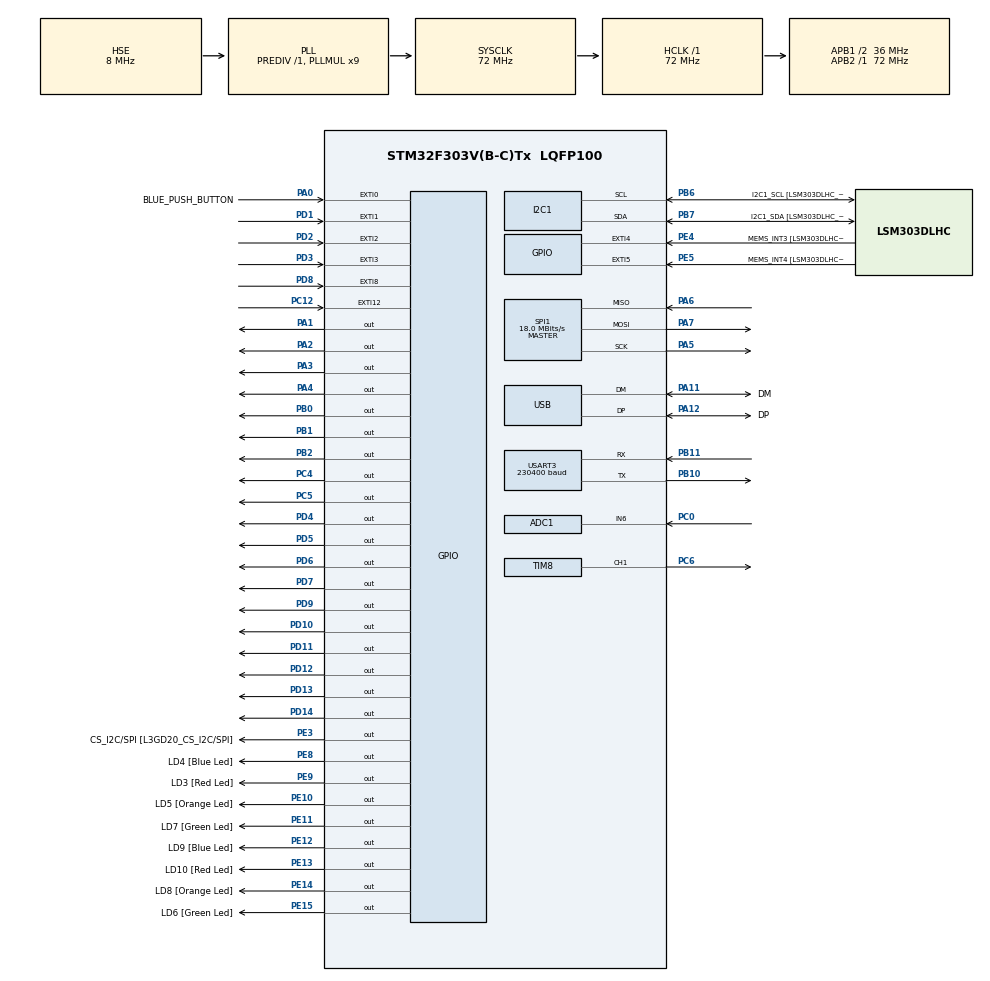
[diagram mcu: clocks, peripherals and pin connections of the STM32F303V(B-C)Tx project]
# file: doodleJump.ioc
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ADC1.Channel-1\#ChannelRegularConversion=ADC_CHANNEL_6
ADC1.ClockPrescaler=ADC_CLOCK_SYNC_PCLK_DIV4
ADC1.NbrOfConversionFlag=1
ADC1.Offset-1\#ChannelRegularConversion=0
ADC1.OffsetNumber-1\#ChannelRegularConversion=ADC_OFFSET_NONE
ADC1.Rank-1\#ChannelRegularConversion=1
ADC1.SamplingTime-1\#ChannelRegularConversion=ADC_SAMPLETIME_601CYCLES_5
ADC1.SamplingTimeOPAMP-1\#ChannelRegularConversion=ADC_SAMPLETIME_61CYCLES_5
ADC1.master=1
Dma.Request0=USART3_TX
Dma.Request1=USART3_RX
Dma.USART3_RX.1.Direction=DMA_PERIPH_TO_MEMORY
Dma.USART3_RX.1.Instance=DMA1_Channel3
Dma.USART3_RX.1.MemDataAlignment=DMA_MDATAALIGN_BYTE
Dma.USART3_RX.1.MemInc=DMA_MINC_ENABLE
Dma.USART3_RX.1.Mode=DMA_NORMAL
Dma.USART3_RX.1.PeriphDataAlignment=DMA_PDATAALIGN_BYTE
Dma.USART3_RX.1.PeriphInc=DMA_PINC_DISABLE
Dma.USART3_RX.1.Priority=DMA_PRIORITY_LOW
Dma.USART3_TX.0.Direction=DMA_MEMORY_TO_PERIPH
Dma.USART3_TX.0.Instance=DMA1_Channel2
Dma.USART3_TX.0.MemDataAlignment=DMA_MDATAALIGN_BYTE
Dma.USART3_TX.0.MemInc=DMA_MINC_ENABLE
Dma.USART3_TX.0.Mode=DMA_NORMAL
Dma.USART3_TX.0.PeriphDataAlignment=DMA_PDATAALIGN_BYTE
Dma.USART3_TX.0.PeriphInc=DMA_PINC_DISABLE
Dma.USART3_TX.0.Priority=DMA_PRIORITY_LOW
FREERTOS.BinarySemaphores01=keypadSem,Dynamic,NULL;volumeSem,Dynamic,NULL;uartDmaSem,Dynamic,NULL;uartDmaRxSem,Dynamic,NULL
FREERTOS.Mutexes01=lcdMutex,Dynamic,NULL;gameLoadMutex,Dynamic,NULL
FREERTOS.Queues01=melodyNameQu,10,4,1,Dynamic,NULL,NULL
FREERTOS.Tasks01=defaultTask,25,300,StartDefaultTask,Default,NULL,Dynamic,NULL,NULL;uartTxTsk,27,300,StartUartTxTsk,Default,NULL,Dynamic,NULL,NULL;getVolumeTsk,25,200,StartGetVolumeTsk,Default,NULL,Dynamic,NULL,NULL;updateLcdTsk,26,800,StartUpdateLcdTsk,Default,NULL,Dynamic,NULL,NULL;update7SegTsk,25,128,StartUpdate7SegTsk,Default,NULL,Dynamic,NULL,NULL;playMelodyTsk,25,128,StartPlayMelodyTsk,Default,NULL,Dynamic,NULL,NULL;lcdStateTxTsk,26,500,StartLcdStateTxTsk,Default,NULL,Dynamic,NULL,NULL;uartRxTsk,27,400,StartUartRxTsk,Default,NULL,Dynamic,NULL,NULL
FREERTOS.configTOTAL_HEAP_SIZE=14336
Mcu.Family=STM32F3
Mcu.Name=STM32F303V(B-C)Tx
Mcu.Package=LQFP100
NVIC.ADC1_2_IRQn=true\:5\:0\:false\:false\:true\:true\:true\:true\:true
NVIC.DMA1_Channel2_IRQn=true\:5\:0\:false\:false\:true\:true\:false\:true\:true
NVIC.DMA1_Channel3_IRQn=true\:5\:0\:false\:false\:true\:true\:false\:true\:true
NVIC.EXTI0_IRQn=true\:5\:0\:true\:false\:true\:false\:true\:true\:true
NVIC.EXTI15_10_IRQn=true\:5\:0\:false\:false\:true\:true\:true\:true\:true
NVIC.EXTI1_IRQn=true\:5\:0\:true\:false\:true\:false\:true\:true\:true
NVIC.EXTI2_TSC_IRQn=true\:5\:0\:true\:false\:true\:false\:true\:true\:true
NVIC.EXTI3_IRQn=true\:5\:0\:true\:false\:true\:false\:true\:true\:true
NVIC.PriorityGroup=NVIC_PRIORITYGROUP_4
NVIC.TIM6_DAC_IRQn=true\:15\:0\:false\:false\:true\:false\:false\:true\:true
NVIC.TimeBase=TIM6_DAC_IRQn
NVIC.TimeBaseIP=TIM6
NVIC.USART3_IRQn=true\:5\:0\:false\:false\:true\:true\:true\:true\:true
PA0.GPIO_Label=BLUE_PUSH_BUTTON
PA0.GPIO_PuPd=GPIO_PULLDOWN
PA0.Signal=GPXTI0
PA1.Signal=GPIO_Output
PA11.GPIO_Label=DM
PA11.Mode=Device
PA11.Signal=USB_DM
PA12.GPIO_Label=DP
PA12.Mode=Device
PA12.Signal=USB_DP
PA13.GPIO_Label=SWDIO
PA13.Mode=Serial_Wire
PA13.Signal=SYS_JTMS-SWDIO
PA14.GPIO_Label=SWCLK
PA14.Mode=Serial_Wire
PA14.Signal=SYS_JTCK-SWCLK
PA2.Signal=GPIO_Output
PA3.Signal=GPIO_Output
PA4.Signal=GPIO_Output
PA5.Mode=Full_Duplex_Master
PA5.Signal=SPI1_SCK
PA6.Mode=Full_Duplex_Master
PA6.Signal=SPI1_MISO
PA7.Mode=Full_Duplex_Master
PA7.Signal=SPI1_MOSI
PB0.Signal=GPIO_Output
PB1.Signal=GPIO_Output
PB10.Mode=Asynchronous
PB10.Signal=USART3_TX
PB11.Mode=Asynchronous
PB11.Signal=USART3_RX
PB2.Signal=GPIO_Output
PB3.GPIO_Label=SWO
PB3.Signal=SYS_JTDO-TRACESWO
PB6.GPIO_Label=I2C1_SCL [LSM303DLHC_SCL]
PB6.GPIO_Pu=GPIO_PULLUP
PB6.Mode=I2C
PB6.Signal=I2C1_SCL
PB7.GPIO_Label=I2C1_SDA [LSM303DLHC_SDA]
PB7.GPIO_Pu=GPIO_PULLUP
PB7.Mode=I2C
PB7.Signal=I2C1_SDA
PC0.Signal=ADCx_IN6
PC12.GPIO_PuPd=GPIO_PULLDOWN
PC12.Signal=GPXTI12
PC14-OSC32_IN.GPIO_Label=OSC32_IN
PC14-OSC32_IN.Signal=RCC_OSC32_IN
PC15-OSC32_OUT.GPIO_Label=OSC32_OUT
PC15-OSC32_OUT.Signal=RCC_OSC32_OUT
PC4.Signal=GPIO_Output
PC5.Signal=GPIO_Output
PC6.Signal=S_TIM8_CH1
PD1.GPIO_PuPd=GPIO_PULLDOWN
PD1.Signal=GPXTI1
PD10.Signal=GPIO_Output
PD11.Signal=GPIO_Output
PD12.Signal=GPIO_Output
PD13.Signal=GPIO_Output
PD14.Signal=GPIO_Output
PD2.GPIO_PuPd=GPIO_PULLDOWN
PD2.Signal=GPXTI2
PD3.GPIO_PuPd=GPIO_PULLDOWN
PD3.Signal=GPXTI3
PD4.Signal=GPIO_Output
PD5.Signal=GPIO_Output
PD6.Signal=GPIO_Output
PD7.Signal=GPIO_Output
PD8.Signal=GPXTI8
PD9.Signal=GPIO_Output
PE10.GPIO_Label=LD5 [Orange Led]
PE10.Signal=GPIO_Output
PE11.GPIO_Label=LD7 [Green Led]
PE11.Signal=GPIO_Output
PE12.GPIO_Label=LD9 [Blue Led]
PE12.Signal=GPIO_Output
PE13.GPIO_Label=LD10 [Red Led]
PE13.Signal=GPIO_Output
PE14.GPIO_Label=LD8 [Orange Led]
PE14.Signal=GPIO_Output
PE15.GPIO_Label=LD6 [Green Led]
PE15.Signal=GPIO_Output
PE3.GPIO_Label=CS_I2C/SPI [L3GD20_CS_I2C/SPI]
PE3.Signal=GPIO_Output
PE4.GPIO_Label=MEMS_INT3 [LSM303DLHC_INT1]
PE4.GPIO_ModeDefaultEXTI=GPIO_MODE_EVT_RISING
PE4.Signal=GPXTI4
PE5.GPIO_Label=MEMS_INT4 [LSM303DLHC_INT2]
PE5.GPIO_ModeDefaultEXTI=GPIO_MODE_EVT_RISING
PE5.Signal=GPXTI5
PE8.GPIO_Label=LD4 [Blue Led]
PE8.Signal=GPIO_Output
PE9.GPIO_Label=LD3 [Red Led]
PE9.Signal=GPIO_Output
PF0-OSC_IN.GPIO_Label=OSC_IN
PF0-OSC_IN.Mode=HSE-External-Clock-Source
PF0-OSC_IN.Signal=RCC_OSC_IN
PF1-OSC_OUT.GPIO_Label=OSC_OUT
PF1-OSC_OUT.Signal=RCC_OSC_OUT
ProjectManager.HeapSize=0x200
ProjectManager.StackSize=0x400
ProjectManager.TargetToolchain=STM32CubeIDE
RCC.AHBFreq_Value=72000000
RCC.APB1CLKDivider=RCC_HCLK_DIV2
RCC.APB1Freq_Value=36000000
RCC.APB1TimFreq_Value=72000000
RCC.APB2Freq_Value=72000000
RCC.APB2TimFreq_Value=72000000
RCC.CortexFreq_Value=72000000
RCC.HCLKFreq_Value=72000000
RCC.HSE_VALUE=8000000
RCC.HSI_VALUE=8000000
RCC.LSE_VALUE=32768
RCC.PLLMUL=RCC_PLL_MUL9
RCC.PRESCALERUSB=RCC_USBCLKSOURCE_PLL_DIV1_5
RCC.SYSCLKFreq_VALUE=72000000
RCC.SYSCLKSourceVirtual=RCC_SYSCLKSOURCE_PLLCLK
RCC.USBFreq_Value=48000000
RTC.AsynchPrediv=39
RTC.Format=RTC_FORMAT_BIN
RTC.SynchPrediv=999
RTC.WeekDay=RTC_WEEKDAY_SATURDAY
SH.ADCx_IN6.0=ADC1_IN6,IN6-Single-Ended
SH.S_TIM8_CH1.0=TIM8_CH1,PWM Generation1 CH1
SPI1.BaudRatePrescaler=SPI_BAUDRATEPRESCALER_4
SPI1.CalculateBaudRate=18.0 MBits/s
SPI1.Direction=SPI_DIRECTION_2LINES
SPI1.Mode=SPI_MODE_MASTER
SPI1.VirtualType=VM_MASTER
TIM8.Channel-PWM\ Generation1\ CH1=TIM_CHANNEL_1
USART3.BaudRate=230400
USART3.VirtualMode-Asynchronous=VM_ASYNC
VP_FREERTOS_VS_CMSIS_V2.Mode=CMSIS_V2
VP_RTC_VS_RTC_Activate.Mode=RTC_Enabled
VP_RTC_VS_RTC_Calendar.Mode=RTC_Calendar
VP_SYS_VS_tim6.Mode=TIM6
board=STM32F3DISCOVERY

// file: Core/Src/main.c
/* USER CODE BEGIN Header */
/**
  ******************************************************************************
  * @file           : main.c
  * @brief          : Main program body
  ******************************************************************************
  * @attention
  *
  * Copyright (c) 2022 STMicroelectronics.
  * All rights reserved.
  *
  * This software is licensed under terms that can be found in the LICENSE file
  * in the root directory of this software component.
  * If no LICENSE file comes with this software, it is provided AS-IS.
  *
  ******************************************************************************
  */
/* USER CODE END Header */
#include "main.h"
#include "cmsis_os.h"

/* USER CODE BEGIN Includes */
#include <stdlib.h>
#include "globals.h"
#include "init.h"
#include "keypad.h"
#include "7segment.h"
#include "lcd.h"
#include "adc.h"
#include "game.h"
#include "buzzer.h"
#include "uart.h"
#include "timeManagement.h"
#include "acceleroGyro.h"
/* USER CODE END Includes */

ADC_HandleTypeDef hadc1;

I2C_HandleTypeDef hi2c1;

RTC_HandleTypeDef hrtc;

SPI_HandleTypeDef hspi1;

TIM_HandleTypeDef htim8;

UART_HandleTypeDef huart3;
DMA_HandleTypeDef hdma_usart3_tx;
DMA_HandleTypeDef hdma_usart3_rx;

PCD_HandleTypeDef hpcd_USB_FS;

/* Definitions for defaultTask */
osThreadId_t defaultTaskHandle;
const osThreadAttr_t defaultTask_attributes = {
  .name = "defaultTask",
  .stack_size = 300 * 4,
  .priority = (osPriority_t) osPriorityNormal1,
};
/* Definitions for uartTxTsk */
osThreadId_t uartTxTskHandle;
const osThreadAttr_t uartTxTsk_attributes = {
  .name = "uartTxTsk",
  .stack_size = 300 * 4,
  .priority = (osPriority_t) osPriorityNormal3,
};
/* Definitions for getVolumeTsk */
osThreadId_t getVolumeTskHandle;
const osThreadAttr_t getVolumeTsk_attributes = {
  .name = "getVolumeTsk",
  .stack_size = 200 * 4,
  .priority = (osPriority_t) osPriorityNormal1,
};
/* Definitions for updateLcdTsk */
osThreadId_t updateLcdTskHandle;
const osThreadAttr_t updateLcdTsk_attributes = {
  .name = "updateLcdTsk",
  .stack_size = 800 * 4,
  .priority = (osPriority_t) osPriorityNormal2,
};
/* Definitions for update7SegTsk */
osThreadId_t update7SegTskHandle;
const osThreadAttr_t update7SegTsk_attributes = {
  .name = "update7SegTsk",
  .stack_size = 128 * 4,
  .priority = (osPriority_t) osPriorityNormal1,
};
/* Definitions for playMelodyTsk */
osThreadId_t playMelodyTskHandle;
const osThreadAttr_t playMelodyTsk_attributes = {
  .name = "playMelodyTsk",
  .stack_size = 128 * 4,
  .priority = (osPriority_t) osPriorityNormal1,
};
/* Definitions for lcdStateTxTsk */
osThreadId_t lcdStateTxTskHandle;
const osThreadAttr_t lcdStateTxTsk_attributes = {
  .name = "lcdStateTxTsk",
  .stack_size = 500 * 4,
  .priority = (osPriority_t) osPriorityNormal2,
};
/* Definitions for uartRxTsk */
osThreadId_t uartRxTskHandle;
const osThreadAttr_t uartRxTsk_attributes = {
  .name = "uartRxTsk",
  .stack_size = 400 * 4,
  .priority = (osPriority_t) osPriorityNormal3,
};
/* Definitions for melodyNameQu */
osMessageQueueId_t melodyNameQuHandle;
const osMessageQueueAttr_t melodyNameQu_attributes = {
  .name = "melodyNameQu"
};
/* Definitions for lcdMutex */
osMutexId_t lcdMutexHandle;
const osMutexAttr_t lcdMutex_attributes = {
  .name = "lcdMutex"
};
/* Definitions for gameLoadMutex */
osMutexId_t gameLoadMutexHandle;
const osMutexAttr_t gameLoadMutex_attributes = {
  .name = "gameLoadMutex"
};
/* Definitions for keypadSem */
osSemaphoreId_t keypadSemHandle;
const osSemaphoreAttr_t keypadSem_attributes = {
  .name = "keypadSem"
};
/* Definitions for volumeSem */
osSemaphoreId_t volumeSemHandle;
const osSemaphoreAttr_t volumeSem_attributes = {
  .name = "volumeSem"
};
/* Definitions for uartDmaSem */
osSemaphoreId_t uartDmaSemHandle;
const osSemaphoreAttr_t uartDmaSem_attributes = {
  .name = "uartDmaSem"
};
/* Definitions for uartDmaRxSem */
osSemaphoreId_t uartDmaRxSemHandle;
const osSemaphoreAttr_t uartDmaRxSem_attributes = {
  .name = "uartDmaRxSem"
};

void SystemClock_Config(void);
static void MX_GPIO_Init(void);
static void MX_DMA_Init(void);
static void MX_USB_PCD_Init(void);
static void MX_ADC1_Init(void);
static void MX_TIM8_Init(void);
static void MX_RTC_Init(void);
static void MX_I2C1_Init(void);
static void MX_USART3_UART_Init(void);
static void MX_SPI1_Init(void);
void StartDefaultTask(void *argument);
void StartUartTxTsk(void *argument);
void StartGetVolumeTsk(void *argument);
void StartUpdateLcdTsk(void *argument);
void StartUpdate7SegTsk(void *argument);
void StartPlayMelodyTsk(void *argument);
void StartLcdStateTxTsk(void *argument);
void StartUartRxTsk(void *argument);

int main(void)
{

  /* MCU Configuration--------------------------------------------------------*/

  /* Reset of all peripherals, Initializes the Flash interface and the Systick. */
  HAL_Init();

  /* Configure the system clock */
  SystemClock_Config();

  /* Initialize all configured peripherals */
  MX_GPIO_Init();
  MX_DMA_Init();
  MX_USB_PCD_Init();
  MX_ADC1_Init();
  MX_TIM8_Init();
  MX_RTC_Init();
  MX_I2C1_Init();
  MX_USART3_UART_Init();
  MX_SPI1_Init();
  /* USER CODE BEGIN 2 */
    programInit();

  /* USER CODE END 2 */

  /* Init scheduler */
  osKernelInitialize();
  /* Create the mutex(es) */
  /* creation of lcdMutex */
  lcdMutexHandle = osMutexNew(&lcdMutex_attributes);

  /* creation of gameLoadMutex */
  gameLoadMutexHandle = osMutexNew(&gameLoadMutex_attributes);

  /* Create the semaphores(s) */
  /* creation of keypadSem */
  keypadSemHandle = osSemaphoreNew(1, 0, &keypadSem_attributes);

  /* creation of volumeSem */
  volumeSemHandle = osSemaphoreNew(1, 0, &volumeSem_attributes);

  /* creation of uartDmaSem */
  uartDmaSemHandle = osSemaphoreNew(1, 1, &uartDmaSem_attributes);

  /* creation of uartDmaRxSem */
  uartDmaRxSemHandle = osSemaphoreNew(1, 0, &uartDmaRxSem_attributes);

  /* Create the queue(s) */
  /* creation of melodyNameQu */
  melodyNameQuHandle = osMessageQueueNew (10, 4, &melodyNameQu_attributes);

  /* Create the thread(s) */
  /* creation of defaultTask */
  defaultTaskHandle = osThreadNew(StartDefaultTask, NULL, &defaultTask_attributes);

  /* creation of uartTxTsk */
  uartTxTskHandle = osThreadNew(StartUartTxTsk, NULL, &uartTxTsk_attributes);

  /* creation of getVolumeTsk */
  getVolumeTskHandle = osThreadNew(StartGetVolumeTsk, NULL, &getVolumeTsk_attributes);

  /* creation of updateLcdTsk */
  updateLcdTskHandle = osThreadNew(StartUpdateLcdTsk, NULL, &updateLcdTsk_attributes);

  /* creation of update7SegTsk */
  update7SegTskHandle = osThreadNew(StartUpdate7SegTsk, NULL, &update7SegTsk_attributes);

  /* creation of playMelodyTsk */
  playMelodyTskHandle = osThreadNew(StartPlayMelodyTsk, NULL, &playMelodyTsk_attributes);

  /* creation of lcdStateTxTsk */
  lcdStateTxTskHandle = osThreadNew(StartLcdStateTxTsk, NULL, &lcdStateTxTsk_attributes);

  /* creation of uartRxTsk */
  uartRxTskHandle = osThreadNew(StartUartRxTsk, NULL, &uartRxTsk_attributes);

  /* Start scheduler */
  osKernelStart();

  /* We should never get here as control is now taken by the scheduler */
  /* Infinite loop */
    while (1) {

    }
}

void SystemClock_Config(void)
{
  RCC_OscInitTypeDef RCC_OscInitStruct = {0};
  RCC_ClkInitTypeDef RCC_ClkInitStruct = {0};
  RCC_PeriphCLKInitTypeDef PeriphClkInit = {0};

  /** Initializes the RCC Oscillators according to the specified parameters
  * in the RCC_OscInitTypeDef structure.
  */
  RCC_OscInitStruct.OscillatorType = RCC_OSCILLATORTYPE_HSI|RCC_OSCILLATORTYPE_LSI
                              |RCC_OSCILLATORTYPE_HSE;
  RCC_OscInitStruct.HSEState = RCC_HSE_BYPASS;
  RCC_OscInitStruct.HSEPredivValue = RCC_HSE_PREDIV_DIV1;
  RCC_OscInitStruct.HSIState = RCC_HSI_ON;
  RCC_OscInitStruct.HSICalibrationValue = RCC_HSICALIBRATION_DEFAULT;
  RCC_OscInitStruct.LSIState = RCC_LSI_ON;
  RCC_OscInitStruct.PLL.PLLState = RCC_PLL_ON;
  RCC_OscInitStruct.PLL.PLLSource = RCC_PLLSOURCE_HSE;
  RCC_OscInitStruct.PLL.PLLMUL = RCC_PLL_MUL9;
  if (HAL_RCC_OscConfig(&RCC_OscInitStruct) != HAL_OK)
  {
    Error_Handler();
  }

  /** Initializes the CPU, AHB and APB buses clocks
  */
  RCC_ClkInitStruct.ClockType = RCC_CLOCKTYPE_HCLK|RCC_CLOCKTYPE_SYSCLK
                              |RCC_CLOCKTYPE_PCLK1|RCC_CLOCKTYPE_PCLK2;
  RCC_ClkInitStruct.SYSCLKSource = RCC_SYSCLKSOURCE_PLLCLK;
  RCC_ClkInitStruct.AHBCLKDivider = RCC_SYSCLK_DIV1;
  RCC_ClkInitStruct.APB1CLKDivider = RCC_HCLK_DIV2;
  RCC_ClkInitStruct.APB2CLKDivider = RCC_HCLK_DIV1;

  if (HAL_RCC_ClockConfig(&RCC_ClkInitStruct, FLASH_LATENCY_2) != HAL_OK)
  {
    Error_Handler();
  }
  PeriphClkInit.PeriphClockSelection = RCC_PERIPHCLK_USB|RCC_PERIPHCLK_USART3
                              |RCC_PERIPHCLK_I2C1|RCC_PERIPHCLK_RTC
                              |RCC_PERIPHCLK_TIM8;
  PeriphClkInit.Usart3ClockSelection = RCC_USART3CLKSOURCE_PCLK1;
  PeriphClkInit.I2c1ClockSelection = RCC_I2C1CLKSOURCE_HSI;
  PeriphClkInit.RTCClockSelection = RCC_RTCCLKSOURCE_LSI;
  PeriphClkInit.USBClockSelection = RCC_USBCLKSOURCE_PLL_DIV1_5;
  PeriphClkInit.Tim8ClockSelection = RCC_TIM8CLK_HCLK;
  if (HAL_RCCEx_PeriphCLKConfig(&PeriphClkInit) != HAL_OK)
  {
    Error_Handler();
  }
}

static void MX_ADC1_Init(void)
{

  ADC_MultiModeTypeDef multimode = {0};
  ADC_ChannelConfTypeDef sConfig = {0};

  /** Common config
  */
  hadc1.Instance = ADC1;
  hadc1.Init.ClockPrescaler = ADC_CLOCK_SYNC_PCLK_DIV4;
  hadc1.Init.Resolution = ADC_RESOLUTION_12B;
  hadc1.Init.ScanConvMode = ADC_SCAN_DISABLE;
  hadc1.Init.ContinuousConvMode = DISABLE;
  hadc1.Init.DiscontinuousConvMode = DISABLE;
  hadc1.Init.ExternalTrigConvEdge = ADC_EXTERNALTRIGCONVEDGE_NONE;
  hadc1.Init.ExternalTrigConv = ADC_SOFTWARE_START;
  hadc1.Init.DataAlign = ADC_DATAALIGN_RIGHT;
  hadc1.Init.NbrOfConversion = 1;
  hadc1.Init.DMAContinuousRequests = DISABLE;
  hadc1.Init.EOCSelection = ADC_EOC_SINGLE_CONV;
  hadc1.Init.LowPowerAutoWait = DISABLE;
  hadc1.Init.Overrun = ADC_OVR_DATA_OVERWRITTEN;
  if (HAL_ADC_Init(&hadc1) != HAL_OK)
  {
    Error_Handler();
  }

  /** Configure the ADC multi-mode
  */
  multimode.Mode = ADC_MODE_INDEPENDENT;
  if (HAL_ADCEx_MultiModeConfigChannel(&hadc1, &multimode) != HAL_OK)
  {
    Error_Handler();
  }

  /** Configure Regular Channel
  */
  sConfig.Channel = ADC_CHANNEL_6;
  sConfig.Rank = ADC_REGULAR_RANK_1;
  sConfig.SingleDiff = ADC_SINGLE_ENDED;
  sConfig.SamplingTime = ADC_SAMPLETIME_601CYCLES_5;
  sConfig.OffsetNumber = ADC_OFFSET_NONE;
  sConfig.Offset = 0;
  if (HAL_ADC_ConfigChannel(&hadc1, &sConfig) != HAL_OK)
  {
    Error_Handler();
  }

}

static void MX_I2C1_Init(void)
{

  hi2c1.Instance = I2C1;
  hi2c1.Init.Timing = 0x2000090E;
  hi2c1.Init.OwnAddress1 = 0;
  hi2c1.Init.AddressingMode = I2C_ADDRESSINGMODE_7BIT;
  hi2c1.Init.DualAddressMode = I2C_DUALADDRESS_DISABLE;
  hi2c1.Init.OwnAddress2 = 0;
  hi2c1.Init.OwnAddress2Masks = I2C_OA2_NOMASK;
  hi2c1.Init.GeneralCallMode = I2C_GENERALCALL_DISABLE;
  hi2c1.Init.NoStretchMode = I2C_NOSTRETCH_DISABLE;
  if (HAL_I2C_Init(&hi2c1) != HAL_OK)
  {
    Error_Handler();
  }

  /** Configure Analogue filter
  */
  if (HAL_I2CEx_ConfigAnalogFilter(&hi2c1, I2C_ANALOGFILTER_ENABLE) != HAL_OK)
  {
    Error_Handler();
  }

  /** Configure Digital filter
  */
  if (HAL_I2CEx_ConfigDigitalFilter(&hi2c1, 0) != HAL_OK)
  {
    Error_Handler();
  }

}

static void MX_RTC_Init(void)
{

  RTC_TimeTypeDef sTime = {0};
  RTC_DateTypeDef sDate = {0};

  /** Initialize RTC Only
  */
  hrtc.Instance = RTC;
  hrtc.Init.HourFormat = RTC_HOURFORMAT_24;
  hrtc.Init.AsynchPrediv = 39;
  hrtc.Init.SynchPrediv = 999;
  hrtc.Init.OutPut = RTC_OUTPUT_DISABLE;
  hrtc.Init.OutPutPolarity = RTC_OUTPUT_POLARITY_HIGH;
  hrtc.Init.OutPutType = RTC_OUTPUT_TYPE_OPENDRAIN;
  if (HAL_RTC_Init(&hrtc) != HAL_OK)
  {
    Error_Handler();
  }

  /** Initialize RTC and set the Time and Date
  */
  sTime.Hours = 0;
  sTime.Minutes = 0;
  sTime.Seconds = 0;
  sTime.DayLightSaving = RTC_DAYLIGHTSAVING_NONE;
  sTime.StoreOperation = RTC_STOREOPERATION_RESET;
  if (HAL_RTC_SetTime(&hrtc, &sTime, RTC_FORMAT_BIN) != HAL_OK)
  {
    Error_Handler();
  }
  sDate.WeekDay = RTC_WEEKDAY_SATURDAY;
  sDate.Month = RTC_MONTH_JANUARY;
  sDate.Date = 1;
  sDate.Year = 0;

  if (HAL_RTC_SetDate(&hrtc, &sDate, RTC_FORMAT_BIN) != HAL_OK)
  {
    Error_Handler();
  }

}

static void MX_SPI1_Init(void)
{

  /* SPI1 parameter configuration*/
  hspi1.Instance = SPI1;
  hspi1.Init.Mode = SPI_MODE_MASTER;
  hspi1.Init.Direction = SPI_DIRECTION_2LINES;
  hspi1.Init.DataSize = SPI_DATASIZE_4BIT;
  hspi1.Init.CLKPolarity = SPI_POLARITY_LOW;
  hspi1.Init.CLKPhase = SPI_PHASE_1EDGE;
  hspi1.Init.NSS = SPI_NSS_SOFT;
  hspi1.Init.BaudRatePrescaler = SPI_BAUDRATEPRESCALER_4;
  hspi1.Init.FirstBit = SPI_FIRSTBIT_MSB;
  hspi1.Init.TIMode = SPI_TIMODE_DISABLE;
  hspi1.Init.CRCCalculation = SPI_CRCCALCULATION_DISABLE;
  hspi1.Init.CRCPolynomial = 7;
  hspi1.Init.CRCLength = SPI_CRC_LENGTH_DATASIZE;
  hspi1.Init.NSSPMode = SPI_NSS_PULSE_ENABLE;
  if (HAL_SPI_Init(&hspi1) != HAL_OK)
  {
    Error_Handler();
  }

}

static void MX_TIM8_Init(void)
{

  TIM_MasterConfigTypeDef sMasterConfig = {0};
  TIM_OC_InitTypeDef sConfigOC = {0};
  TIM_BreakDeadTimeConfigTypeDef sBreakDeadTimeConfig = {0};

  htim8.Instance = TIM8;
  htim8.Init.Prescaler = 0;
  htim8.Init.CounterMode = TIM_COUNTERMODE_UP;
  htim8.Init.Period = 65535;
  htim8.Init.ClockDivision = TIM_CLOCKDIVISION_DIV1;
  htim8.Init.RepetitionCounter = 0;
  htim8.Init.AutoReloadPreload = TIM_AUTORELOAD_PRELOAD_DISABLE;
  if (HAL_TIM_PWM_Init(&htim8) != HAL_OK)
  {
    Error_Handler();
  }
  sMasterConfig.MasterOutputTrigger = TIM_TRGO_RESET;
  sMasterConfig.MasterOutputTrigger2 = TIM_TRGO2_RESET;
  sMasterConfig.MasterSlaveMode = TIM_MASTERSLAVEMODE_DISABLE;
  if (HAL_TIMEx_MasterConfigSynchronization(&htim8, &sMasterConfig) != HAL_OK)
  {
    Error_Handler();
  }
  sConfigOC.OCMode = TIM_OCMODE_PWM1;
  sConfigOC.Pulse = 0;
  sConfigOC.OCPolarity = TIM_OCPOLARITY_HIGH;
  sConfigOC.OCNPolarity = TIM_OCNPOLARITY_HIGH;
  sConfigOC.OCFastMode = TIM_OCFAST_DISABLE;
  sConfigOC.OCIdleState = TIM_OCIDLESTATE_RESET;
  sConfigOC.OCNIdleState = TIM_OCNIDLESTATE_RESET;
  if (HAL_TIM_PWM_ConfigChannel(&htim8, &sConfigOC, TIM_CHANNEL_1) != HAL_OK)
  {
    Error_Handler();
  }
  sBreakDeadTimeConfig.OffStateRunMode = TIM_OSSR_DISABLE;
  sBreakDeadTimeConfig.OffStateIDLEMode = TIM_OSSI_DISABLE;
  sBreakDeadTimeConfig.LockLevel = TIM_LOCKLEVEL_OFF;
  sBreakDeadTimeConfig.DeadTime = 0;
  sBreakDeadTimeConfig.BreakState = TIM_BREAK_DISABLE;
  sBreakDeadTimeConfig.BreakPolarity = TIM_BREAKPOLARITY_HIGH;
  sBreakDeadTimeConfig.BreakFilter = 0;
  sBreakDeadTimeConfig.Break2State = TIM_BREAK2_DISABLE;
  sBreakDeadTimeConfig.Break2Polarity = TIM_BREAK2POLARITY_HIGH;
  sBreakDeadTimeConfig.Break2Filter = 0;
  sBreakDeadTimeConfig.AutomaticOutput = TIM_AUTOMATICOUTPUT_DISABLE;
  if (HAL_TIMEx_ConfigBreakDeadTime(&htim8, &sBreakDeadTimeConfig) != HAL_OK)
  {
    Error_Handler();
  }
  HAL_TIM_MspPostInit(&htim8);

}

static void MX_USART3_UART_Init(void)
{

  huart3.Instance = USART3;
  huart3.Init.BaudRate = 230400;
  huart3.Init.WordLength = UART_WORDLENGTH_8B;
  huart3.Init.StopBits = UART_STOPBITS_1;
  huart3.Init.Parity = UART_PARITY_NONE;
  huart3.Init.Mode = UART_MODE_TX_RX;
  huart3.Init.HwFlowCtl = UART_HWCONTROL_NONE;
  huart3.Init.OverSampling = UART_OVERSAMPLING_16;
  huart3.Init.OneBitSampling = UART_ONE_BIT_SAMPLE_DISABLE;
  huart3.AdvancedInit.AdvFeatureInit = UART_ADVFEATURE_NO_INIT;
  if (HAL_UART_Init(&huart3) != HAL_OK)
  {
    Error_Handler();
  }

}

static void MX_USB_PCD_Init(void)
{

  hpcd_USB_FS.Instance = USB;
  hpcd_USB_FS.Init.dev_endpoints = 8;
  hpcd_USB_FS.Init.speed = PCD_SPEED_FULL;
  hpcd_USB_FS.Init.phy_itface = PCD_PHY_EMBEDDED;
  hpcd_USB_FS.Init.low_power_enable = DISABLE;
  hpcd_USB_FS.Init.battery_charging_enable = DISABLE;
  if (HAL_PCD_Init(&hpcd_USB_FS) != HAL_OK)
  {
    Error_Handler();
  }

}

static void MX_DMA_Init(void)
{

  /* DMA controller clock enable */
  __HAL_RCC_DMA1_CLK_ENABLE();

  /* DMA interrupt init */
  /* DMA1_Channel2_IRQn interrupt configuration */
  HAL_NVIC_SetPriority(DMA1_Channel2_IRQn, 5, 0);
  HAL_NVIC_EnableIRQ(DMA1_Channel2_IRQn);
  /* DMA1_Channel3_IRQn interrupt configuration */
  HAL_NVIC_SetPriority(DMA1_Channel3_IRQn, 5, 0);
  HAL_NVIC_EnableIRQ(DMA1_Channel3_IRQn);

}

static void MX_GPIO_Init(void)
{
  GPIO_InitTypeDef GPIO_InitStruct = {0};

  /* GPIO Ports Clock Enable */
  __HAL_RCC_GPIOE_CLK_ENABLE();
  __HAL_RCC_GPIOC_CLK_ENABLE();
  __HAL_RCC_GPIOF_CLK_ENABLE();
  __HAL_RCC_GPIOA_CLK_ENABLE();
  __HAL_RCC_GPIOB_CLK_ENABLE();
  __HAL_RCC_GPIOD_CLK_ENABLE();

  /*Configure GPIO pin Output Level */
  HAL_GPIO_WritePin(GPIOE, CS_I2C_SPI_Pin|LD4_Pin|LD3_Pin|LD5_Pin
                          |LD7_Pin|LD9_Pin|LD10_Pin|LD8_Pin
                          |LD6_Pin, GPIO_PIN_RESET);

  /*Configure GPIO pin Output Level */
  HAL_GPIO_WritePin(GPIOA, GPIO_PIN_1|GPIO_PIN_2|GPIO_PIN_3|GPIO_PIN_4, GPIO_PIN_RESET);

  /*Configure GPIO pin Output Level */
  HAL_GPIO_WritePin(GPIOC, GPIO_PIN_4|GPIO_PIN_5, GPIO_PIN_RESET);

  /*Configure GPIO pin Output Level */
  HAL_GPIO_WritePin(GPIOB, GPIO_PIN_0|GPIO_PIN_1|GPIO_PIN_2, GPIO_PIN_RESET);

  /*Configure GPIO pin Output Level */
  HAL_GPIO_WritePin(GPIOD, GPIO_PIN_9|GPIO_PIN_10|GPIO_PIN_11|GPIO_PIN_12
                          |GPIO_PIN_13|GPIO_PIN_14|GPIO_PIN_4|GPIO_PIN_5
                          |GPIO_PIN_6|GPIO_PIN_7, GPIO_PIN_RESET);

  /*Configure GPIO pins : PE2 PE6 PE7 PE0
                           PE1 */
  GPIO_InitStruct.Pin = GPIO_PIN_2|GPIO_PIN_6|GPIO_PIN_7|GPIO_PIN_0
                          |GPIO_PIN_1;
  GPIO_InitStruct.Mode = GPIO_MODE_ANALOG;
  GPIO_InitStruct.Pull = GPIO_NOPULL;
  HAL_GPIO_Init(GPIOE, &GPIO_InitStruct);

  /*Configure GPIO pins : CS_I2C_SPI_Pin LD4_Pin LD3_Pin LD5_Pin
                           LD7_Pin LD9_Pin LD10_Pin LD8_Pin
                           LD6_Pin */
  GPIO_InitStruct.Pin = CS_I2C_SPI_Pin|LD4_Pin|LD3_Pin|LD5_Pin
                          |LD7_Pin|LD9_Pin|LD10_Pin|LD8_Pin
                          |LD6_Pin;
  GPIO_InitStruct.Mode = GPIO_MODE_OUTPUT_PP;
  GPIO_InitStruct.Pull = GPIO_NOPULL;
  GPIO_InitStruct.Speed = GPIO_SPEED_FREQ_LOW;
  HAL_GPIO_Init(GPIOE, &GPIO_InitStruct);

  /*Configure GPIO pins : MEMS_INT3_Pin MEMS_INT4_Pin */
  GPIO_InitStruct.Pin = MEMS_INT3_Pin|MEMS_INT4_Pin;
  GPIO_InitStruct.Mode = GPIO_MODE_EVT_RISING;
  GPIO_InitStruct.Pull = GPIO_NOPULL;
  HAL_GPIO_Init(GPIOE, &GPIO_InitStruct);

  /*Configure GPIO pins : PC13 PC1 PC2 PC3
                           PC7 PC8 PC9 PC10
                           PC11 */
  GPIO_InitStruct.Pin = GPIO_PIN_13|GPIO_PIN_1|GPIO_PIN_2|GPIO_PIN_3
                          |GPIO_PIN_7|GPIO_PIN_8|GPIO_PIN_9|GPIO_PIN_10
                          |GPIO_PIN_11;
  GPIO_InitStruct.Mode = GPIO_MODE_ANALOG;
  GPIO_InitStruct.Pull = GPIO_NOPULL;
  HAL_GPIO_Init(GPIOC, &GPIO_InitStruct);

  /*Configure GPIO pins : PF9 PF10 PF2 PF4
                           PF6 */
  GPIO_InitStruct.Pin = GPIO_PIN_9|GPIO_PIN_10|GPIO_PIN_2|GPIO_PIN_4
                          |GPIO_PIN_6;
  GPIO_InitStruct.Mode = GPIO_MODE_ANALOG;
  GPIO_InitStruct.Pull = GPIO_NOPULL;
  HAL_GPIO_Init(GPIOF, &GPIO_InitStruct);

  /*Configure GPIO pin : BLUE_PUSH_BUTTON_Pin */
  GPIO_InitStruct.Pin = BLUE_PUSH_BUTTON_Pin;
  GPIO_InitStruct.Mode = GPIO_MODE_IT_RISING;
  GPIO_InitStruct.Pull = GPIO_PULLDOWN;
  HAL_GPIO_Init(BLUE_PUSH_BUTTON_GPIO_Port, &GPIO_InitStruct);

  /*Configure GPIO pins : PA1 PA2 PA3 PA4 */
  GPIO_InitStruct.Pin = GPIO_PIN_1|GPIO_PIN_2|GPIO_PIN_3|GPIO_PIN_4;
  GPIO_InitStruct.Mode = GPIO_MODE_OUTPUT_PP;
  GPIO_InitStruct.Pull = GPIO_NOPULL;
  GPIO_InitStruct.Speed = GPIO_SPEED_FREQ_LOW;
  HAL_GPIO_Init(GPIOA, &GPIO_InitStruct);

  /*Configure GPIO pins : PC4 PC5 */
  GPIO_InitStruct.Pin = GPIO_PIN_4|GPIO_PIN_5;
  GPIO_InitStruct.Mode = GPIO_MODE_OUTPUT_PP;
  GPIO_InitStruct.Pull = GPIO_NOPULL;
  GPIO_InitStruct.Speed = GPIO_SPEED_FREQ_LOW;
  HAL_GPIO_Init(GPIOC, &GPIO_InitStruct);

  /*Configure GPIO pins : PB0 PB1 PB2 */
  GPIO_InitStruct.Pin = GPIO_PIN_0|GPIO_PIN_1|GPIO_PIN_2;
  GPIO_InitStruct.Mode = GPIO_MODE_OUTPUT_PP;
  GPIO_InitStruct.Pull = GPIO_NOPULL;
  GPIO_InitStruct.Speed = GPIO_SPEED_FREQ_LOW;
  HAL_GPIO_Init(GPIOB, &GPIO_InitStruct);

  /*Configure GPIO pins : PB12 PB13 PB14 PB15
                           PB4 PB5 PB8 PB9 */
  GPIO_InitStruct.Pin = GPIO_PIN_12|GPIO_PIN_13|GPIO_PIN_14|GPIO_PIN_15
                          |GPIO_PIN_4|GPIO_PIN_5|GPIO_PIN_8|GPIO_PIN_9;
  GPIO_InitStruct.Mode = GPIO_MODE_ANALOG;
  GPIO_InitStruct.Pull = GPIO_NOPULL;
  HAL_GPIO_Init(GPIOB, &GPIO_InitStruct);

  /*Configure GPIO pin : PD8 */
  GPIO_InitStruct.Pin = GPIO_PIN_8;
  GPIO_InitStruct.Mode = GPIO_MODE_IT_RISING;
  GPIO_InitStruct.Pull = GPIO_NOPULL;
  HAL_GPIO_Init(GPIOD, &GPIO_InitStruct);

  /*Configure GPIO pins : PD9 PD10 PD11 PD12
                           PD13 PD14 PD4 PD5
                           PD6 PD7 */
  GPIO_InitStruct.Pin = GPIO_PIN_9|GPIO_PIN_10|GPIO_PIN_11|GPIO_PIN_12
                          |GPIO_PIN_13|GPIO_PIN_14|GPIO_PIN_4|GPIO_PIN_5
                          |GPIO_PIN_6|GPIO_PIN_7;
  GPIO_InitStruct.Mode = GPIO_MODE_OUTPUT_PP;
  GPIO_InitStruct.Pull = GPIO_NOPULL;
  GPIO_InitStruct.Speed = GPIO_SPEED_FREQ_LOW;
  HAL_GPIO_Init(GPIOD, &GPIO_InitStruct);

  /*Configure GPIO pins : PD15 PD0 */
  GPIO_InitStruct.Pin = GPIO_PIN_15|GPIO_PIN_0;
  GPIO_InitStruct.Mode = GPIO_MODE_ANALOG;
  GPIO_InitStruct.Pull = GPIO_NOPULL;
  HAL_GPIO_Init(GPIOD, &GPIO_InitStruct);

  /*Configure GPIO pins : PA8 PA9 PA10 PA15 */
  GPIO_InitStruct.Pin = GPIO_PIN_8|GPIO_PIN_9|GPIO_PIN_10|GPIO_PIN_15;
  GPIO_InitStruct.Mode = GPIO_MODE_ANALOG;
  GPIO_InitStruct.Pull = GPIO_NOPULL;
  HAL_GPIO_Init(GPIOA, &GPIO_InitStruct);

  /*Configure GPIO pin : PC12 */
  GPIO_InitStruct.Pin = GPIO_PIN_12;
  GPIO_InitStruct.Mode = GPIO_MODE_IT_RISING;
  GPIO_InitStruct.Pull = GPIO_PULLDOWN;
  HAL_GPIO_Init(GPIOC, &GPIO_InitStruct);

  /*Configure GPIO pins : PD1 PD2 PD3 */
  GPIO_InitStruct.Pin = GPIO_PIN_1|GPIO_PIN_2|GPIO_PIN_3;
  GPIO_InitStruct.Mode = GPIO_MODE_IT_RISING;
  GPIO_InitStruct.Pull = GPIO_PULLDOWN;
  HAL_GPIO_Init(GPIOD, &GPIO_InitStruct);

  /* EXTI interrupt init*/
  HAL_NVIC_SetPriority(EXTI0_IRQn, 5, 0);
  HAL_NVIC_EnableIRQ(EXTI0_IRQn);

  HAL_NVIC_SetPriority(EXTI1_IRQn, 5, 0);
  HAL_NVIC_EnableIRQ(EXTI1_IRQn);

  HAL_NVIC_SetPriority(EXTI2_TSC_IRQn, 5, 0);
  HAL_NVIC_EnableIRQ(EXTI2_TSC_IRQn);

  HAL_NVIC_SetPriority(EXTI3_IRQn, 5, 0);
  HAL_NVIC_EnableIRQ(EXTI3_IRQn);

  HAL_NVIC_SetPriority(EXTI15_10_IRQn, 5, 0);
  HAL_NVIC_EnableIRQ(EXTI15_10_IRQn);

}

void StartDefaultTask(void *argument)
{
  /* USER CODE BEGIN 5 */
    /* Infinite loop */
    for (;;) {

        //HAL_GPIO_TogglePin(GPIOE, GPIO_PIN_14);
        //accelerometerRead();

        //osDelay(1000);
        accelerometerRead();
    }
  /* USER CODE END 5 */
}

void StartUartTxTsk(void *argument)
{
  /* USER CODE BEGIN StartUartTxTsk */
    /* Infinite loop */
    for (;;) {
        osSemaphoreAcquire(keypadSemHandle, osWaitForever);
        keypadHandle();

        HAL_GPIO_TogglePin(GPIOE, GPIO_PIN_8);

        //uartFormatTransmit("keypad: %lu\n", keypadNum);
    }
  /* USER CODE END StartUartTxTsk */
}

void StartGetVolumeTsk(void *argument)
{
  /* USER CODE BEGIN StartGetVolumeTsk */
    char adcStr[100];
    adcInit();
    /* Infinite loop */
    for (;;) {

        osSemaphoreAcquire(volumeSemHandle, osWaitForever);
        volumeHandle(&hadc1);

        osDelay(200);

        HAL_ADC_Start_IT(&hadc1);
    }
  /* USER CODE END StartGetVolumeTsk */
}

void StartUpdateLcdTsk(void *argument)
{
  /* USER CODE BEGIN StartUpdateLcdTsk */
    //osThreadSuspend(updateLcdTskHandle);
    lcdInit();
    int writeCount;
    int maxCount = 0;

    uint32_t startTime;
    uint32_t duration;
    int delay;
    uint32_t minDelay = UINT32_MAX;
    int remainedTime;
    /* Infinite loop */
    for (;;) {
        startTime = osKernelGetTickCount();
        writeCount = programRun();
        duration = osKernelGetTickCount() - startTime;

        remainedTime = duration - writeCount * 4;
        delay = 300 - writeCount * 4;

        if (writeCount > maxCount)
            maxCount = writeCount;
        if (delay < minDelay)
            minDelay = delay;

        /*uartFormatTransmit(
                "writeCount: %d | maxCount: %d | duration %lu | remainedTime: %lu | delay:%d | minDelay: %d\n",
                writeCount, maxCount, duration, remainedTime, delay, minDelay);
*/
        /*  uartFormatTransmit(
                  "date: %d/%d/%d - time : %d:%d:%d\n",
                  getDateTime().dateVar.Year, getDateTime().dateVar.Month, getDateTime().dateVar.Date,
                  getDateTime().timeVar.Hours, getDateTime().timeVar.Minutes, getDateTime().timeVar.Seconds);
  */
        osDelay(delay > 0 ? delay : 0);
    }
  /* USER CODE END StartUpdateLcdTsk */
}

void StartUpdate7SegTsk(void *argument)
{
  /* USER CODE BEGIN StartUpdate7SegTsk */
    /* Infinite loop */
    for (;;) {
        update7Segment(score, difficulty);
        osDelay(1);
    }
  /* USER CODE END StartUpdate7SegTsk */
}

void StartPlayMelodyTsk(void *argument)
{
  /* USER CODE BEGIN StartPlayMelodyTsk */
    /* Infinite loop */
    osStatus_t status;
    melodyName melodyToPlay;
    for (;;) {
        status = osMessageQueueGet(melodyNameQuHandle, &melodyToPlay, NULL, osWaitForever);
        if (status == osOK) {
            buzzerMelodyPlay(melodyToPlay);
        }

    }
  /* USER CODE END StartPlayMelodyTsk */
}

void StartLcdStateTxTsk(void *argument)
{
  /* USER CODE BEGIN StartLcdStateTxTsk */
    /* char myStr[200];

     for (int i = 0; i < 15; ++i)
         myStr[i] = 32;  // space

     for (int i = 175; i < 180; ++i)
         myStr[i] = 32;  // space*/

    // characterType tmpCharType;
    *lcdArr(3, 19) = Bullet;
    /* Infinite loop */
    for (;;) {
        /*     for (int i = 0, k = 15; i < 20; ++i) {
                 for (int j = 0; j < 4; ++j) {
                     tmpCharType = *lcdArr(j, i);
                     switch (tmpCharType) {
                         case Air:
                             myStr[k++] = '2';
                             myStr[k++] = '0';
                             break;
                         case DoodlerUp:
                             myStr[k++] = '0';
                             myStr[k++] = '0';
                             break;
                         case DoodlerDown:
                             myStr[k++] = '0';
                             myStr[k++] = '1';
                             break;
                         case NormalStep:
                             myStr[k++] = '0';
                             myStr[k++] = '2';
                             break;
                         case BrokenStep:
                             myStr[k++] = '0';
                             myStr[k++] = '3';
                             break;
                         case SpringStep:
                             myStr[k++] = '0';
                             myStr[k++] = '4';
                             break;
                         case Monster:
                             myStr[k++] = '0';
                             myStr[k++] = '5';
                             break;
                         case BlackHole:
                             myStr[k++] = '0';
                             myStr[k++] = '6';
                             break;
                         case Bullet:
                             myStr[k++] = 'a';
                             myStr[k++] = '5';
                             break;
                         default:
                             break;
                     }
                 }
             }*/

        //myStr[175] = 32; // space
        // myStr[179] = '\n'; // space
        // myStr[180] = 0; // '\0'
        //uartStringTransmit(myStr);
        gameSync();
        osDelay(200);
    }
  /* USER CODE END StartLcdStateTxTsk */
}

void StartUartRxTsk(void *argument)
{
  /* USER CODE BEGIN StartUartRxTsk */
    /* Infinite loop */
    for (;;) {
        osSemaphoreAcquire(uartDmaRxSemHandle, osWaitForever);
        uartRxProcess();
    }
  /* USER CODE END StartUartRxTsk */
}

void HAL_TIM_PeriodElapsedCallback(TIM_HandleTypeDef *htim)
{
  if (htim->Instance == TIM6) {
    HAL_IncTick();
  }
}

void Error_Handler(void)
{
    __disable_irq();
    while (1) {
    }
}
